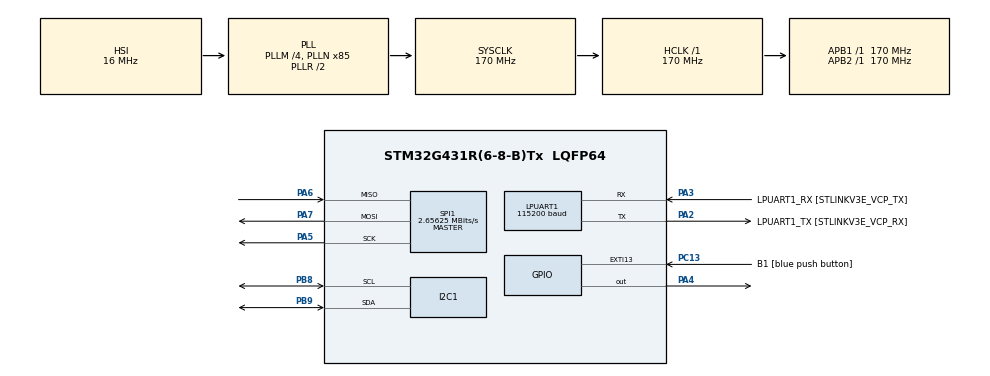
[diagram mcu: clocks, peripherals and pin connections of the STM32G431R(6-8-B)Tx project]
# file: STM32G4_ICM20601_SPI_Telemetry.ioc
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I2C1.Timing=0x30A0A7FB
LPUART1.BaudRate=115200
LPUART1.WordLength=UART_WORDLENGTH_8B
Mcu.Family=STM32G4
Mcu.Name=STM32G431R(6-8-B)Tx
Mcu.Package=LQFP64
NVIC.PriorityGroup=NVIC_PRIORITYGROUP_4
PA13.GPIO_Label=T_SWDIO
PA13.Mode=Serial_Wire
PA13.Signal=SYS_JTMS-SWDIO
PA14.GPIO_Label=T_SWCLK
PA14.Mode=Serial_Wire
PA14.Signal=SYS_JTCK-SWCLK
PA2.GPIO_Label=LPUART1_TX [STLINKV3E_VCP_RX]
PA2.Mode=Asynchronous
PA2.Signal=LPUART1_TX
PA3.GPIO_Label=LPUART1_RX [STLINKV3E_VCP_TX]
PA3.Mode=Asynchronous
PA3.Signal=LPUART1_RX
PA4.Signal=GPIO_Output
PA5.Mode=Full_Duplex_Master
PA5.Signal=SPI1_SCK
PA6.Mode=Full_Duplex_Master
PA6.Signal=SPI1_MISO
PA7.Mode=Full_Duplex_Master
PA7.Signal=SPI1_MOSI
PB3.GPIO_Label=T_SWO
PB3.Signal=SYS_JTDO-SWO
PB8-BOOT0.Mode=I2C
PB8-BOOT0.Signal=I2C1_SCL
PB9.Mode=I2C
PB9.Signal=I2C1_SDA
PC13.GPIO_Label=B1 [blue push button]
PC13.Signal=GPXTI13
PC14-OSC32_IN.Mode=LSE-External-Oscillator
PC14-OSC32_IN.Signal=RCC_OSC32_IN
PC15-OSC32_OUT.Mode=LSE-External-Oscillator
PC15-OSC32_OUT.Signal=RCC_OSC32_OUT
PF0-OSC_IN.Mode=HSE-External-Oscillator
PF0-OSC_IN.Signal=RCC_OSC_IN
PF1-OSC_OUT.Mode=HSE-External-Oscillator
PF1-OSC_OUT.Signal=RCC_OSC_OUT
ProjectManager.HeapSize=0x200
ProjectManager.StackSize=0x400
ProjectManager.TargetToolchain=STM32CubeIDE
RCC.ADC12Freq_Value=170000000
RCC.AHBFreq_Value=170000000
RCC.APB1Freq_Value=170000000
RCC.APB1TimFreq_Value=170000000
RCC.APB2Freq_Value=170000000
RCC.APB2TimFreq_Value=170000000
RCC.CortexFreq_Value=170000000
RCC.EXTERNAL_CLOCK_VALUE=12288000
RCC.HCLKFreq_Value=170000000
RCC.HSE_VALUE=24000000
RCC.HSI48_VALUE=48000000
RCC.HSI_VALUE=16000000
RCC.PLLM=RCC_PLLM_DIV4
RCC.PLLN=85
RCC.RTCClockSelection=RCC_RTCCLKSOURCE_LSE
RCC.SYSCLKFreq_VALUE=170000000
RCC.SYSCLKSource=RCC_SYSCLKSOURCE_PLLCLK
RCC.USBFreq_Value=170000000
RCC.VCOOutputFreq_Value=340000000
SPI1.BaudRatePrescaler=SPI_BAUDRATEPRESCALER_64
SPI1.CalculateBaudRate=2.65625 MBits/s
SPI1.DataSize=SPI_DATASIZE_8BIT
SPI1.Direction=SPI_DIRECTION_2LINES
SPI1.Mode=SPI_MODE_MASTER
SPI1.VirtualType=VM_MASTER
VP_SYS_VS_DBSignals.Mode=DisableDeadBatterySignals
board=NUCLEO-G431RB

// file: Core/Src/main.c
/* USER CODE BEGIN Header */
/**
  ******************************************************************************
  * @file           : main.c
  * @brief          : Main program body
  ******************************************************************************
  * @attention
  *
  * Copyright (c) 2026 STMicroelectronics.
  * All rights reserved.
  *
  * This software is licensed under terms that can be found in the LICENSE file
  * in the root directory of this software component.
  * If no LICENSE file comes with this software, it is provided AS-IS.
  *
  ******************************************************************************
  */
/* USER CODE END Header */
#include "main.h"

/* USER CODE BEGIN Includes */

#include "icm20601.h"
#include "SH1107.h"
#include <stdio.h> // sprintf fonksiyonu kullanarak yazıları biçimlendirmek için ekledik

/* USER CODE END Includes */

I2C_HandleTypeDef hi2c1;

UART_HandleTypeDef hlpuart1;

SPI_HandleTypeDef hspi1;

/* USER CODE BEGIN PV */

volatile uint8_t sensor_id = 0;
ICM20601_Data_t imu_data;
uint8_t imu_status = 0;
char oled_msg[64];        // <-- BURAYI GÜVENLİK İÇİN 64 YAPTIK (Taşma engellendi)

/* USER CODE END PV */

void SystemClock_Config(void);
static void MX_GPIO_Init(void);
static void MX_LPUART1_UART_Init(void);
static void MX_I2C1_Init(void);
static void MX_SPI1_Init(void);

int main(void)
{

  /* MCU Configuration--------------------------------------------------------*/

  /* Reset of all peripherals, Initializes the Flash interface and the Systick. */
  HAL_Init();

  /* Configure the system clock */
  SystemClock_Config();

  /* Initialize all configured peripherals */
  MX_GPIO_Init();
  MX_LPUART1_UART_Init();
  MX_I2C1_Init();
  MX_SPI1_Init();
  /* USER CODE BEGIN 2 */

    SH1107_Init();         // OLED ekranı I2C üzerinden başlat
    SH1107_ClearBuffer();  // Ekran belleğini temizle

    // IMU'yu SPI hattı üzerinden uyandırıp ayarla
    imu_status = ICM20601_Init(&hspi1);

    if(imu_status) {
  	  SH1107_DrawString(10, 50, "IMU SPI OK!", 1);
    } else {
  	  SH1107_DrawString(10, 50, "IMU ERROR!", 1);
    }
    SH1107_Update();
    HAL_Delay(1000); // 1 saniye başlangıç mesajını göster

  /* USER CODE END 2 */

  /* Infinite loop */
  while (1)
  {

    /* USER CODE BEGIN 3 */

	  // 1. Sensörden verileri oku
	        ICM20601_Read_All(&hspi1, &imu_data);

	        // 2. Ekran tamponunu sıfırla
	        SH1107_ClearBuffer();

	        // 3. Yeni tasarladığımız arayüze verileri gönder (Hafıza dostu)
	        SH1107_Draw_Telemetry(imu_data.accel_x, imu_data.accel_y, imu_data.accel_z, imu_data.temperature, imu_data.gyro_z);

	        // 4. Ekranı güncelle ve bekle
	        SH1107_Update();
	        HAL_Delay(100);

  }
  /* USER CODE END 3 */
}

void SystemClock_Config(void)
{
  RCC_OscInitTypeDef RCC_OscInitStruct = {0};
  RCC_ClkInitTypeDef RCC_ClkInitStruct = {0};

  /** Configure the main internal regulator output voltage
  */
  HAL_PWREx_ControlVoltageScaling(PWR_REGULATOR_VOLTAGE_SCALE1_BOOST);

  /** Initializes the RCC Oscillators according to the specified parameters
  * in the RCC_OscInitTypeDef structure.
  */
  RCC_OscInitStruct.OscillatorType = RCC_OSCILLATORTYPE_HSI;
  RCC_OscInitStruct.HSIState = RCC_HSI_ON;
  RCC_OscInitStruct.HSICalibrationValue = RCC_HSICALIBRATION_DEFAULT;
  RCC_OscInitStruct.PLL.PLLState = RCC_PLL_ON;
  RCC_OscInitStruct.PLL.PLLSource = RCC_PLLSOURCE_HSI;
  RCC_OscInitStruct.PLL.PLLM = RCC_PLLM_DIV4;
  RCC_OscInitStruct.PLL.PLLN = 85;
  RCC_OscInitStruct.PLL.PLLP = RCC_PLLP_DIV2;
  RCC_OscInitStruct.PLL.PLLQ = RCC_PLLQ_DIV2;
  RCC_OscInitStruct.PLL.PLLR = RCC_PLLR_DIV2;
  if (HAL_RCC_OscConfig(&RCC_OscInitStruct) != HAL_OK)
  {
    Error_Handler();
  }

  /** Initializes the CPU, AHB and APB buses clocks
  */
  RCC_ClkInitStruct.ClockType = RCC_CLOCKTYPE_HCLK|RCC_CLOCKTYPE_SYSCLK
                              |RCC_CLOCKTYPE_PCLK1|RCC_CLOCKTYPE_PCLK2;
  RCC_ClkInitStruct.SYSCLKSource = RCC_SYSCLKSOURCE_PLLCLK;
  RCC_ClkInitStruct.AHBCLKDivider = RCC_SYSCLK_DIV1;
  RCC_ClkInitStruct.APB1CLKDivider = RCC_HCLK_DIV1;
  RCC_ClkInitStruct.APB2CLKDivider = RCC_HCLK_DIV1;

  if (HAL_RCC_ClockConfig(&RCC_ClkInitStruct, FLASH_LATENCY_4) != HAL_OK)
  {
    Error_Handler();
  }
}

static void MX_I2C1_Init(void)
{

  hi2c1.Instance = I2C1;
  hi2c1.Init.Timing = 0x30A0A7FB;
  hi2c1.Init.OwnAddress1 = 0;
  hi2c1.Init.AddressingMode = I2C_ADDRESSINGMODE_7BIT;
  hi2c1.Init.DualAddressMode = I2C_DUALADDRESS_DISABLE;
  hi2c1.Init.OwnAddress2 = 0;
  hi2c1.Init.OwnAddress2Masks = I2C_OA2_NOMASK;
  hi2c1.Init.GeneralCallMode = I2C_GENERALCALL_DISABLE;
  hi2c1.Init.NoStretchMode = I2C_NOSTRETCH_DISABLE;
  if (HAL_I2C_Init(&hi2c1) != HAL_OK)
  {
    Error_Handler();
  }

  /** Configure Analogue filter
  */
  if (HAL_I2CEx_ConfigAnalogFilter(&hi2c1, I2C_ANALOGFILTER_ENABLE) != HAL_OK)
  {
    Error_Handler();
  }

  /** Configure Digital filter
  */
  if (HAL_I2CEx_ConfigDigitalFilter(&hi2c1, 0) != HAL_OK)
  {
    Error_Handler();
  }

}

static void MX_LPUART1_UART_Init(void)
{

  hlpuart1.Instance = LPUART1;
  hlpuart1.Init.BaudRate = 115200;
  hlpuart1.Init.WordLength = UART_WORDLENGTH_8B;
  hlpuart1.Init.StopBits = UART_STOPBITS_1;
  hlpuart1.Init.Parity = UART_PARITY_NONE;
  hlpuart1.Init.Mode = UART_MODE_TX_RX;
  hlpuart1.Init.HwFlowCtl = UART_HWCONTROL_NONE;
  hlpuart1.Init.OneBitSampling = UART_ONE_BIT_SAMPLE_DISABLE;
  hlpuart1.Init.ClockPrescaler = UART_PRESCALER_DIV1;
  hlpuart1.AdvancedInit.AdvFeatureInit = UART_ADVFEATURE_NO_INIT;
  if (HAL_UART_Init(&hlpuart1) != HAL_OK)
  {
    Error_Handler();
  }
  if (HAL_UARTEx_SetTxFifoThreshold(&hlpuart1, UART_TXFIFO_THRESHOLD_1_8) != HAL_OK)
  {
    Error_Handler();
  }
  if (HAL_UARTEx_SetRxFifoThreshold(&hlpuart1, UART_RXFIFO_THRESHOLD_1_8) != HAL_OK)
  {
    Error_Handler();
  }
  if (HAL_UARTEx_DisableFifoMode(&hlpuart1) != HAL_OK)
  {
    Error_Handler();
  }

}

static void MX_SPI1_Init(void)
{

  /* SPI1 parameter configuration*/
  hspi1.Instance = SPI1;
  hspi1.Init.Mode = SPI_MODE_MASTER;
  hspi1.Init.Direction = SPI_DIRECTION_2LINES;
  hspi1.Init.DataSize = SPI_DATASIZE_8BIT;
  hspi1.Init.CLKPolarity = SPI_POLARITY_LOW;
  hspi1.Init.CLKPhase = SPI_PHASE_1EDGE;
  hspi1.Init.NSS = SPI_NSS_SOFT;
  hspi1.Init.BaudRatePrescaler = SPI_BAUDRATEPRESCALER_64;
  hspi1.Init.FirstBit = SPI_FIRSTBIT_MSB;
  hspi1.Init.TIMode = SPI_TIMODE_DISABLE;
  hspi1.Init.CRCCalculation = SPI_CRCCALCULATION_DISABLE;
  hspi1.Init.CRCPolynomial = 7;
  hspi1.Init.CRCLength = SPI_CRC_LENGTH_DATASIZE;
  hspi1.Init.NSSPMode = SPI_NSS_PULSE_ENABLE;
  if (HAL_SPI_Init(&hspi1) != HAL_OK)
  {
    Error_Handler();
  }

}

static void MX_GPIO_Init(void)
{
  GPIO_InitTypeDef GPIO_InitStruct = {0};

  /* GPIO Ports Clock Enable */
  __HAL_RCC_GPIOC_CLK_ENABLE();
  __HAL_RCC_GPIOF_CLK_ENABLE();
  __HAL_RCC_GPIOA_CLK_ENABLE();
  __HAL_RCC_GPIOB_CLK_ENABLE();

  /*Configure GPIO pin Output Level */
  HAL_GPIO_WritePin(GPIOA, GPIO_PIN_4, GPIO_PIN_RESET);

  /*Configure GPIO pin : B1_Pin */
  GPIO_InitStruct.Pin = B1_Pin;
  GPIO_InitStruct.Mode = GPIO_MODE_IT_RISING;
  GPIO_InitStruct.Pull = GPIO_NOPULL;
  HAL_GPIO_Init(B1_GPIO_Port, &GPIO_InitStruct);

  /*Configure GPIO pin : PA4 */
  GPIO_InitStruct.Pin = GPIO_PIN_4;
  GPIO_InitStruct.Mode = GPIO_MODE_OUTPUT_PP;
  GPIO_InitStruct.Pull = GPIO_NOPULL;
  GPIO_InitStruct.Speed = GPIO_SPEED_FREQ_LOW;
  HAL_GPIO_Init(GPIOA, &GPIO_InitStruct);

}

void Error_Handler(void)
{
  __disable_irq();
  while (1)
  {
  }
}
